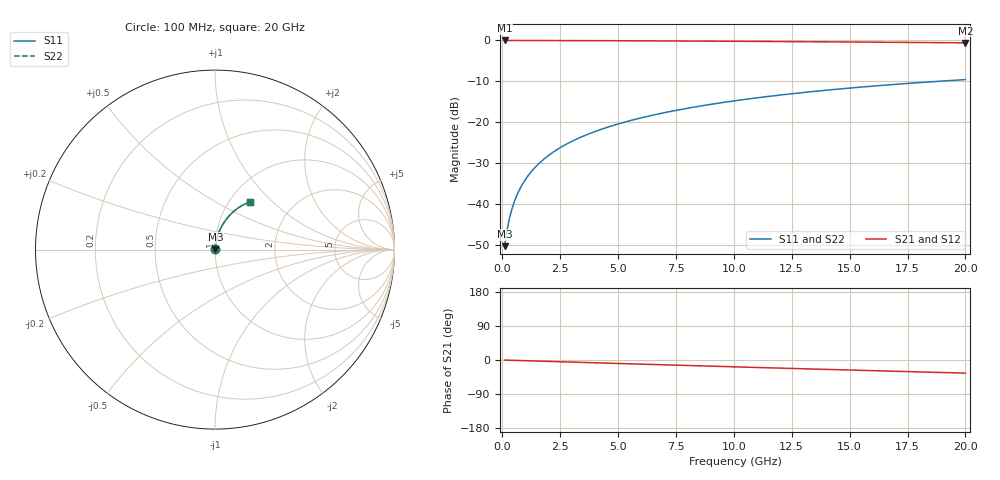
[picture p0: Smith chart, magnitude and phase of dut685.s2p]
! Touchstone file exported from HFSS 2026.1.0
!  File:  C:/ffzhzh/LocalFiles/Ansys_Project_Files/temp_train_BSMRDL_685_1783017609_53980.aedt
!  Generated:  02:41:40 AM Jul  3, 2026
!  Design:  BSMRDL
!  Project:  temp_train_BSMRDL_685_1783017609_53980
! Variables:
!  h_bsmrdl = 6um
!  h_ox = 20um
!  h_rdl = 5um
!  h_sub = 80um
!  h_tmrdl = 5um
!  h_tsv = 80um
!  h_via = 3um
!  l_bsmrdl = 506.71um
!  l_sub = 906.71um
!  l_tmrdl = 200um
!  m_sub = 200um
!  pitch = 38.42um
!  r_tsv = 6um
!  s_tmrdl = 10um
!  w_bsmrdl = 13.94um
!  w_sub = 500um
!  w_tmrdl = 12um
!  x_tsv_center1 = 206um
!  x_tsv_center2 = 726.65um
!  x_tsv_center3 = 938.65um
!  x_tsv_center4 = 1459.3um
!  x_tsv_center5 = 1671.3um
!  x_tsv_center6 = 2191.95um
# GHz S MA R 50.000000
! Terminal data exported
! Port[1] = BSM_RDL1_1_T1
! Port[2] = BSM_RDL1_1_T2
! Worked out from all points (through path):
!   200 points, 100 MHz to 20 GHz, reference 50 ohm
!   highest |S21| = -0.02 dB at 100 MHz (marker M1); lowest = -0.6 dB at 20 GHz (marker M2)
!   group delay of S21, straight-line fit = 4.81 ps
!   lowest |S11| = -50.3 dB at 100 MHz (marker M3), VSWR 1.01, Z = 50.2 + j0.208 ohm
!   |S11| at or under -10 dB: start of sweep to 18.85 GHz
!   |S22| runs from -50.3 to -9.6 dB; largest |S21 - S12| = 3.5e-15
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0.1  0.003048 42.8  0.9978 -0.2  0.9978 -0.2  0.003048 42.8
! Gamma 0 0 0 0
! Port Impedance 50 0 50 0
0.2  0.00471 60.2  0.9977 -0.4  0.9977 -0.4  0.00471 60.2
0.3  0.006535 68.0  0.9976 -0.6  0.9976 -0.6  0.006535 68.0
0.4  0.008407 72.3  0.9975 -0.8  0.9975 -0.8  0.008407 72.3
0.5  0.0103 75.0  0.9975 -0.9  0.9975 -0.9  0.0103 75.0
0.6  0.01222 76.8  0.9974 -1.1  0.9974 -1.1  0.01222 76.8
0.8  0.01607 79.1  0.9972 -1.5  0.9972 -1.5  0.01607 79.1
1.1  0.02188 80.7  0.997 -2.1  0.997 -2.1  0.02188 80.7
1.5  0.02962 81.4  0.9966 -2.8  0.9966 -2.8  0.02962 81.4
1.8  0.03541 81.5  0.9962 -3.4  0.9962 -3.4  0.03541 81.5
2.1  0.04116 81.3  0.9958 -3.9  0.9958 -3.9  0.04116 81.4
2.7  0.05257 80.8  0.9948 -5.0  0.9948 -5.0  0.05257 80.8
3.5  0.06756 79.7  0.9933 -6.5  0.9933 -6.5  0.06756 79.7
4.2  0.08048 78.7  0.9918 -7.8  0.9918 -7.8  0.08047 78.7
5  0.09504 77.4  0.9899 -9.2  0.9899 -9.2  0.09503 77.4
5.9  0.1112 76.0  0.9877 -10.8  0.9877 -10.8  0.1112 76.0
6.8  0.1271 74.6  0.9852 -12.4  0.9852 -12.4  0.1271 74.6
8.3  0.1532 72.1  0.9808 -15.1  0.9808 -15.1  0.1532 72.2
10.1  0.1836 69.2  0.9749 -18.2  0.9749 -18.2  0.1836 69.3
13.4  0.2368 63.9  0.9624 -23.8  0.9624 -23.8  0.2368 64.0
16.7  0.2862 58.6  0.9482 -29.3  0.9482 -29.3  0.2862 58.7
20  0.3315 53.5  0.9328 -34.7  0.9328 -34.7  0.3315 53.6
